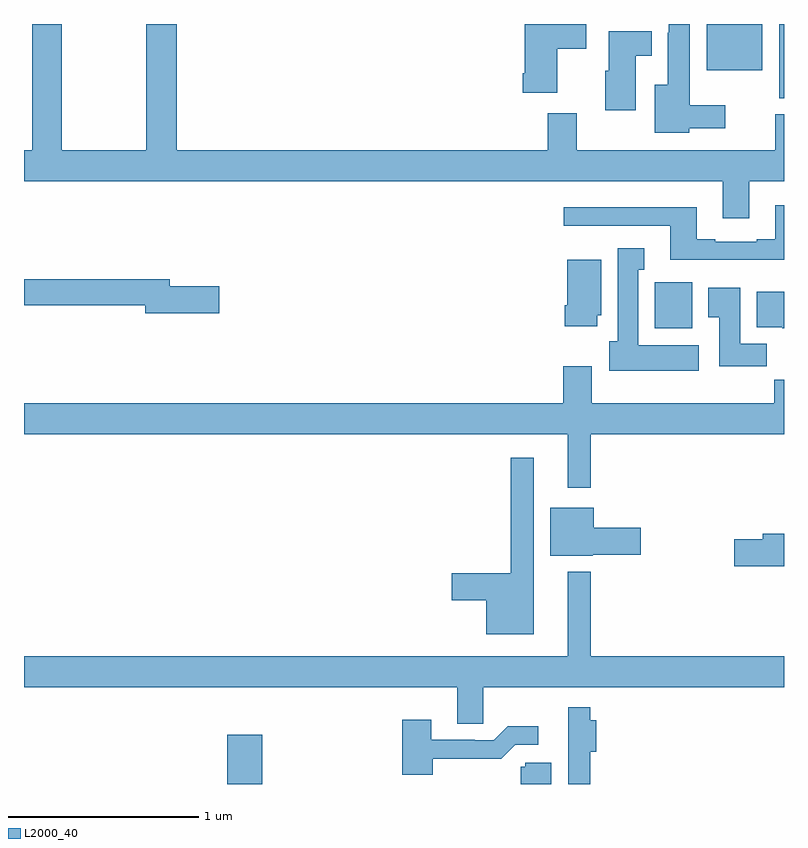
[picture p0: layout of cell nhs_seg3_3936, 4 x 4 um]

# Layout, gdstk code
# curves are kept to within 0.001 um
import gdstk
lib = gdstk.Library(unit=1e-6, precision=1e-09)
def R(c, l, rs):  # rectangles x0, y0, x1, y1
    for r in rs: c.add(gdstk.rectangle(r[:2], r[2:], *l))
def P(c, l, *ps):  # polygons
    for p in ps: c.add(gdstk.Polygon(p, *l))
L2000_40 = (2000, 40)

nhs_seg3_3936 = lib.new_cell('nhs_seg3_3936')
R(nhs_seg3_3936, L2000_40, [(316.07,708.4,316.253,708.658), (318.32,710.798,318.517,711.04), (318.974,712.01,319,712.4), (318.593,712.157,318.886,712.4)])
P(nhs_seg3_3936, L2000_40, [(318.817,711.572),(319,711.572),(319,711.925),(318.953,711.925),(318.953,711.736),(317.908,711.736),(317.908,711.931),(317.756,711.931),(317.756,711.736),(315.803,711.736),(315.803,712.4),(315.643,712.4),(315.643,711.736),(315.198,711.736),(315.198,712.4),(315.043,712.4),(315.043,711.736),(315,711.736),(315,711.572),(318.677,711.572),(318.677,711.378),(318.817,711.378)],
  [(318.501,711.851),(318.691,711.851),(318.691,711.973),(318.505,711.973),(318.505,712.4),(318.393,712.4),(318.393,712.355),(318.389,712.355),(318.389,712.081),(318.32,712.081),(318.32,711.827),(318.501,711.827)],
  [(317.806,712.27),(317.959,712.27),(317.959,712.4),(317.636,712.4),(317.636,712.141),(317.624,712.141),(317.624,712.037),(317.806,712.037)],
  [(318.22,712.232),(318.304,712.232),(318.304,712.363),(318.077,712.363),(318.077,712.155),(318.059,712.155),(318.059,711.945),(318.22,711.945)],
  [(319,711.445),(318.953,711.445),(318.953,711.268),(318.857,711.268),(318.857,711.255),(318.637,711.255),(318.637,711.268),(318.541,711.268),(318.541,711.436),(317.841,711.436),(317.841,711.339),(318.401,711.339),(318.401,711.158),(319,711.158)],
  [(318.55,710.71),(318.232,710.71),(318.232,711.107),(318.265,711.107),(318.265,711.22),(318.125,711.22),(318.125,710.73),(318.08,710.73),(318.08,710.576),(318.55,710.576)],
  [(318.016,710.868),(318.037,710.868),(318.037,711.16),(317.858,711.16),(317.858,710.92),(317.846,710.92),(317.846,710.808),(318.016,710.808)],
  [(316.027,711.02),(315.766,711.02),(315.766,711.056),(315,711.056),(315,710.92),(315.638,710.92),(315.638,710.878),(316.027,710.878)],
  [(318.908,710.716),(318.769,710.716),(318.769,711.013),(318.602,711.013),(318.602,710.857),(318.659,710.857),(318.659,710.598),(318.908,710.598)],
  [(319,710.992),(318.857,710.992),(318.857,710.804),(318.99,710.804),(318.99,710.798),(319,710.798)],
  [(317.983,710.24),(319,710.24),(319,710.528),(318.949,710.528),(318.949,710.404),(317.989,710.404),(317.989,710.599),(317.837,710.599),(317.837,710.404),(315,710.404),(315,710.24),(317.861,710.24),(317.861,709.959),(317.983,709.959)],
  [(317.683,710.116),(317.562,710.116),(317.562,709.508),(317.25,709.508),(317.25,709.366),(317.432,709.366),(317.432,709.187),(317.683,709.187)],
  [(317.994,709.607),(318.247,709.607),(318.247,709.749),(317.998,709.749),(317.998,709.855),(317.771,709.855),(317.771,709.601),(317.994,709.601)],
  [(319,709.718),(318.887,709.718),(318.887,709.688),(318.738,709.688),(318.738,709.546),(319,709.546)],
  [(317.418,708.908),(319,708.908),(319,709.072),(317.983,709.072),(317.983,709.516),(317.861,709.516),(317.861,709.072),(315,709.072),(315,708.908),(317.279,708.908),(317.279,708.718),(317.418,708.718)],
  [(317.981,708.571),(318.011,708.571),(318.011,708.736),(317.981,708.736),(317.981,708.805),(317.864,708.805),(317.864,708.582),(317.865,708.582),(317.865,708.4),(317.981,708.4)],
  [(317.151,708.534),(317.513,708.533),(317.586,708.606),(317.707,708.606),(317.707,708.703),(317.545,708.703),(317.472,708.63),(317.372,708.63),(317.372,708.633),(317.143,708.633),(317.143,708.739),(316.991,708.739),(316.991,708.449),(317.151,708.449)],
  [(317.776,708.513),(317.637,708.513),(317.637,708.492),(317.615,708.492),(317.615,708.4),(317.776,708.4)])

lib.write_gds('nhs_seg3_3936.gds')
